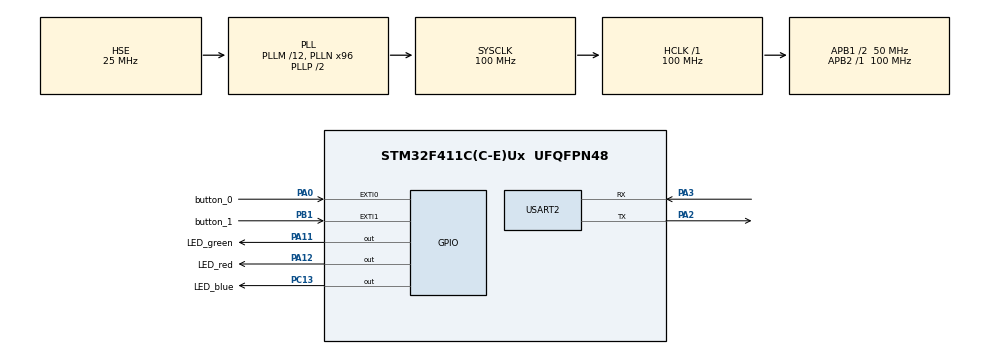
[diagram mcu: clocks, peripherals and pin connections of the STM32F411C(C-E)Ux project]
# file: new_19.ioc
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FREERTOS.Queues01=EXTI_to_button,10,uint8_t,0,Dynamic,NULL,NULL;button_to_uart,10,uint8_t,0,Dynamic,NULL,NULL;uart_to_output,8,uint8_t,0,Dynamic,NULL,NULL
FREERTOS.Tasks01=task_output,24,128,start_output,Default,NULL,Dynamic,NULL,NULL;task_read_buton,32,128,start_read_button,Default,NULL,Dynamic,NULL,NULL;task_uart,24,128,start_uart,Default,NULL,Dynamic,NULL,NULL
Mcu.Family=STM32F4
Mcu.Name=STM32F411C(C-E)Ux
Mcu.Package=UFQFPN48
NVIC.EXTI0_IRQn=true\:7\:0\:true\:false\:true\:true\:true\:true\:true
NVIC.EXTI1_IRQn=true\:7\:0\:true\:false\:true\:true\:true\:true\:true
NVIC.PriorityGroup=NVIC_PRIORITYGROUP_4
NVIC.TIM4_IRQn=true\:15\:0\:false\:false\:true\:false\:false\:true\:true
NVIC.TimeBase=TIM4_IRQn
NVIC.TimeBaseIP=TIM4
NVIC.USART2_IRQn=true\:9\:0\:true\:false\:true\:true\:true\:true\:true
PA0-WKUP.GPIO_Label=button_0
PA0-WKUP.GPIO_ModeDefaultEXTI=GPIO_MODE_IT_FALLING
PA0-WKUP.GPIO_PuPd=GPIO_PULLDOWN
PA0-WKUP.Signal=GPXTI0
PA11.GPIO_Label=LED_green
PA11.GPIO_PuPd=GPIO_PULLUP
PA11.GPIO_Speed=GPIO_SPEED_FREQ_VERY_HIGH
PA11.Signal=GPIO_Output
PA12.GPIO_Label=LED_red
PA12.GPIO_PuPd=GPIO_PULLUP
PA12.GPIO_Speed=GPIO_SPEED_FREQ_VERY_HIGH
PA12.Signal=GPIO_Output
PA13.Mode=Serial_Wire
PA13.Signal=SYS_JTMS-SWDIO
PA14.Mode=Serial_Wire
PA14.Signal=SYS_JTCK-SWCLK
PA2.Mode=Asynchronous
PA2.Signal=USART2_TX
PA3.Mode=Asynchronous
PA3.Signal=USART2_RX
PB1.GPIO_Label=button_1
PB1.GPIO_PuPd=GPIO_PULLUP
PB1.Signal=GPXTI1
PC13-ANTI_TAMP.GPIO_Label=LED_blue
PC13-ANTI_TAMP.GPIO_ModeDefaultOutputPP=GPIO_MODE_OUTPUT_OD
PC13-ANTI_TAMP.GPIO_PuPd=GPIO_PULLUP
PC13-ANTI_TAMP.Signal=GPIO_Output
PH0\ -\ OSC_IN.Mode=HSE-External-Oscillator
PH0\ -\ OSC_IN.Signal=RCC_OSC_IN
PH1\ -\ OSC_OUT.Mode=HSE-External-Oscillator
PH1\ -\ OSC_OUT.Signal=RCC_OSC_OUT
ProjectManager.HeapSize=0x200
ProjectManager.StackSize=0x400
ProjectManager.TargetToolchain=MDK-ARM V5.32
RCC.48MHZClocksFreq_Value=50000000
RCC.AHBFreq_Value=100000000
RCC.APB1CLKDivider=RCC_HCLK_DIV2
RCC.APB1Freq_Value=50000000
RCC.APB1TimFreq_Value=100000000
RCC.APB2Freq_Value=100000000
RCC.APB2TimFreq_Value=100000000
RCC.CortexFreq_Value=100000000
RCC.HCLKFreq_Value=100000000
RCC.HSE_VALUE=25000000
RCC.HSI_VALUE=16000000
RCC.LSE_VALUE=32768
RCC.PLLM=12
RCC.PLLN=96
RCC.PLLSourceVirtual=RCC_PLLSOURCE_HSE
RCC.SYSCLKFreq_VALUE=100000000
RCC.SYSCLKSource=RCC_SYSCLKSOURCE_PLLCLK
RCC.VCOOutputFreq_Value=200000000
USART2.VirtualMode=VM_ASYNC
VP_FREERTOS_VS_CMSIS_V2.Mode=CMSIS_V2
VP_SYS_VS_tim4.Mode=TIM4
board=custom

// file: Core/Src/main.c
/* USER CODE BEGIN Header */
/**
  ******************************************************************************
  * @file           : main.c
  * @brief          : Main program body
  ******************************************************************************
  * @attention
  *
  * Copyright (c) 2024 STMicroelectronics.
  * All rights reserved.
  *
  * This software is licensed under terms that can be found in the LICENSE file
  * in the root directory of this software component.
  * If no LICENSE file comes with this software, it is provided AS-IS.
  *
  ******************************************************************************
  */
/* USER CODE END Header */
#include "main.h"
#include "cmsis_os.h"
#include "usart.h"
#include "gpio.h"
#include "self.h"

/* USER CODE BEGIN PV */
extern GPIO_InitTypeDef GPIO_InitStruct[2];
/* USER CODE END PV */

void SystemClock_Config(void);
void MX_FREERTOS_Init(void);

int main(void)
{

  /* MCU Configuration--------------------------------------------------------*/

  /* Reset of all peripherals, Initializes the Flash interface and the Systick. */
  HAL_Init();

  /* Configure the system clock */
  SystemClock_Config();

  /* Initialize all configured peripherals */
  MX_GPIO_Init();
  MX_USART2_UART_Init();
  /* USER CODE BEGIN 2 */
  button_init_struct();
  /* USER CODE END 2 */

  /* Init scheduler */
  osKernelInitialize();

  /* Call init function for freertos objects (in cmsis_os2.c) */
  MX_FREERTOS_Init();

  /* Start scheduler */
  osKernelStart();

  /* We should never get here as control is now taken by the scheduler */

  /* Infinite loop */
  while (1)
  {

  }
}

void SystemClock_Config(void)
{
  RCC_OscInitTypeDef RCC_OscInitStruct = {0};
  RCC_ClkInitTypeDef RCC_ClkInitStruct = {0};

  /** Configure the main internal regulator output voltage
  */
  __HAL_RCC_PWR_CLK_ENABLE();
  __HAL_PWR_VOLTAGESCALING_CONFIG(PWR_REGULATOR_VOLTAGE_SCALE1);

  /** Initializes the RCC Oscillators according to the specified parameters
  * in the RCC_OscInitTypeDef structure.
  */
  RCC_OscInitStruct.OscillatorType = RCC_OSCILLATORTYPE_HSE;
  RCC_OscInitStruct.HSEState = RCC_HSE_ON;
  RCC_OscInitStruct.PLL.PLLState = RCC_PLL_ON;
  RCC_OscInitStruct.PLL.PLLSource = RCC_PLLSOURCE_HSE;
  RCC_OscInitStruct.PLL.PLLM = 12;
  RCC_OscInitStruct.PLL.PLLN = 96;
  RCC_OscInitStruct.PLL.PLLP = RCC_PLLP_DIV2;
  RCC_OscInitStruct.PLL.PLLQ = 4;
  if (HAL_RCC_OscConfig(&RCC_OscInitStruct) != HAL_OK)
  {
    Error_Handler();
  }

  /** Initializes the CPU, AHB and APB buses clocks
  */
  RCC_ClkInitStruct.ClockType = RCC_CLOCKTYPE_HCLK|RCC_CLOCKTYPE_SYSCLK
                              |RCC_CLOCKTYPE_PCLK1|RCC_CLOCKTYPE_PCLK2;
  RCC_ClkInitStruct.SYSCLKSource = RCC_SYSCLKSOURCE_PLLCLK;
  RCC_ClkInitStruct.AHBCLKDivider = RCC_SYSCLK_DIV1;
  RCC_ClkInitStruct.APB1CLKDivider = RCC_HCLK_DIV2;
  RCC_ClkInitStruct.APB2CLKDivider = RCC_HCLK_DIV1;

  if (HAL_RCC_ClockConfig(&RCC_ClkInitStruct, FLASH_LATENCY_3) != HAL_OK)
  {
    Error_Handler();
  }
}

void HAL_TIM_PeriodElapsedCallback(TIM_HandleTypeDef *htim)
{
  if (htim->Instance == TIM4) {
    HAL_IncTick();
  }
}

void Error_Handler(void)
{
  __disable_irq();
  while (1)
  {
  }
}

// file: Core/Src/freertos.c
/* USER CODE BEGIN Header */
/**
  ******************************************************************************
  * File Name          : freertos.c
  * Description        : Code for freertos applications
  ******************************************************************************
  * @attention
  *
  * Copyright (c) 2024 STMicroelectronics.
  * All rights reserved.
  *
  * This software is licensed under terms that can be found in the LICENSE file
  * in the root directory of this software component.
  * If no LICENSE file comes with this software, it is provided AS-IS.
  *
  ******************************************************************************
  */
/* USER CODE END Header */

#include "self.h"

/* Definitions for task_output */
osThreadId_t task_outputHandle;
const osThreadAttr_t task_output_attributes = {
  .name = "task_output",
  .stack_size = 128 * 4,
  .priority = (osPriority_t) osPriorityNormal,
};
/* Definitions for task_read_buton */
osThreadId_t task_read_butonHandle;
const osThreadAttr_t task_read_buton_attributes = {
  .name = "task_read_buton",
  .stack_size = 128 * 4,
  .priority = (osPriority_t) osPriorityAboveNormal,
};
/* Definitions for task_uart */
osThreadId_t task_uartHandle;
const osThreadAttr_t task_uart_attributes = {
  .name = "task_uart",
  .stack_size = 128 * 4,
  .priority = (osPriority_t) osPriorityNormal,
};
/* Definitions for EXTI_to_button */
osMessageQueueId_t EXTI_to_buttonHandle;
const osMessageQueueAttr_t EXTI_to_button_attributes = {
  .name = "EXTI_to_button"
};
/* Definitions for button_to_uart */
osMessageQueueId_t button_to_uartHandle;
const osMessageQueueAttr_t button_to_uart_attributes = {
  .name = "button_to_uart"
};
/* Definitions for uart_to_output */
osMessageQueueId_t uart_to_outputHandle;
const osMessageQueueAttr_t uart_to_output_attributes = {
  .name = "uart_to_output"
};

void start_output(void *argument);
void start_read_button(void *argument);
void start_uart(void *argument);

void MX_FREERTOS_Init(void); /* (MISRA C 2004 rule 8.1) */

void MX_FREERTOS_Init(void) {

  /* Create the queue(s) */
  /* creation of EXTI_to_button */
  EXTI_to_buttonHandle = osMessageQueueNew (10, sizeof(uint8_t), &EXTI_to_button_attributes);

  /* creation of button_to_uart */
  button_to_uartHandle = osMessageQueueNew (10, sizeof(uint8_t), &button_to_uart_attributes);

  /* creation of uart_to_output */
  uart_to_outputHandle = osMessageQueueNew (8, sizeof(uint8_t), &uart_to_output_attributes);

  /* Create the thread(s) */
  /* creation of task_output */
  task_outputHandle = osThreadNew(start_output, NULL, &task_output_attributes);

  /* creation of task_read_buton */
  task_read_butonHandle = osThreadNew(start_read_button, NULL, &task_read_buton_attributes);

  /* creation of task_uart */
  task_uartHandle = osThreadNew(start_uart, NULL, &task_uart_attributes);

}

void start_output(void *argument)
{
  /* USER CODE BEGIN start_output */
  enum_operate operates = IDLE_OPERATE;
  enum_button buffer;
  /* Infinite loop */
  for(;;)
  {
    switch (operates)
    {
      case IDLE_OPERATE:
        if (xQueueReceive(uart_to_outputHandle, &buffer, pdMS_TO_TICKS(100)) == pdTRUE)
        {
          switch (buffer)
          {
            case BUTTON_CLICK:
              operates = LED_BLUE_TOGGLE;
              break;
            case BUTTON_DOUBLE:
              operates = LED_RED_TOGGLE;
              break;
            case BUTTON_LONG:
              operates = LED_GREEN_TOGGLE;
              break;
            default:
              operates = IDLE_OPERATE;
              break;
          }
        }
        break;
      case LED_RED_TOGGLE:
        HAL_GPIO_TogglePin(LED_red_GPIO_Port, LED_red_Pin);
        operates = IDLE_OPERATE;
        break;
      case LED_GREEN_TOGGLE:
        HAL_GPIO_TogglePin(LED_green_GPIO_Port, LED_green_Pin);
        operates = IDLE_OPERATE;
        break;
      case LED_BLUE_TOGGLE:
        HAL_GPIO_TogglePin(LED_blue_GPIO_Port, LED_blue_Pin);
        operates = IDLE_OPERATE;
        break;
      default:
        operates = IDLE_OPERATE;
        break;
    }
  }
  /* USER CODE END start_output */
}

void start_read_button(void *argument)
{
  /* USER CODE BEGIN start_read_button */
  uint32_t gap;
  uint8_t buffer;
  enum_button situations = IDLE_BUTTON;
  //_Bool if_ignore_next_release = 0;
  /* Infinite loop */
  for(;;)
  {
    switch (situations)
    {
      case IDLE_BUTTON:
        if(xQueueReceive(EXTI_to_buttonHandle, &buffer, pdMS_TO_TICKS(100)) == pdTRUE)
        {
          if(!buffer)
          {
            gap = HAL_GetTick();
          }else
          {
            /*if (if_ignore_next_release)
            {
              if_ignore_next_release = 0;
              break;
            }*/
            gap = HAL_GetTick() - gap;
            if (gap > 20)
            {
            situations = (gap >= 700) ? (BUTTON_LONG) : (BUTTON_CLICK);
            }
          }
        }
        break;
      case BUTTON_CLICK:
        if(if_double_click())
        {
          situations = BUTTON_DOUBLE;
          //if_ignore_next_release = 1;
          break;
        }
        xQueueSend(button_to_uartHandle, &situations, pdMS_TO_TICKS(100));
        situations = IDLE_BUTTON;
        break;
      case BUTTON_DOUBLE:
      case BUTTON_LONG:
        xQueueSend(button_to_uartHandle, &situations, pdMS_TO_TICKS(100));
        situations = IDLE_BUTTON;
        break;
      default:
        situations = IDLE_BUTTON;
        break;
    }
  }
  /* USER CODE END start_read_button */
}

void start_uart(void *argument)
{
  /* USER CODE BEGIN start_uart */
  enum_button receives = IDLE_BUTTON;
  char on_screen[50],
  button_situation[][13] = {"short click\0", "double click\0", "long press\0"},
  LED_color[][6] = {"blue\0", "red\0", "green\0"};
  /* Infinite loop */
  for(;;)
  {
    switch (receives)
    {
      case IDLE_BUTTON:
        xQueueReceive(button_to_uartHandle, &receives, pdMS_TO_TICKS(100));
        break;
      case BUTTON_CLICK:
        sprintf(on_screen, "it's a %s, LED %s toggling. \n", button_situation[0], LED_color[0]);
        xQueueSend(uart_to_outputHandle, &receives, pdMS_TO_TICKS(100));
        HAL_UART_Transmit_IT(&huart2, (uint8_t *)on_screen, strlen(on_screen));
        receives = IDLE_BUTTON;
        break;
      case BUTTON_DOUBLE:
        sprintf(on_screen, "it's a %s, LED %s toggling. \n", button_situation[1], LED_color[1]);
        xQueueSend(uart_to_outputHandle, &receives, pdMS_TO_TICKS(100));
        HAL_UART_Transmit_IT(&huart2, (uint8_t *)on_screen, strlen(on_screen));
        receives = IDLE_BUTTON;
        break;
      case BUTTON_LONG:
        sprintf(on_screen, "it's a %s, LED %s toggling. \n", button_situation[2], LED_color[2]);
        xQueueSend(uart_to_outputHandle, &receives, pdMS_TO_TICKS(100));
        HAL_UART_Transmit_IT(&huart2, (uint8_t *)on_screen, strlen(on_screen));
        receives = IDLE_BUTTON;
        break;
      default:
        receives = IDLE_BUTTON;
        break;
    }
  }
  /* USER CODE END start_uart */
}
